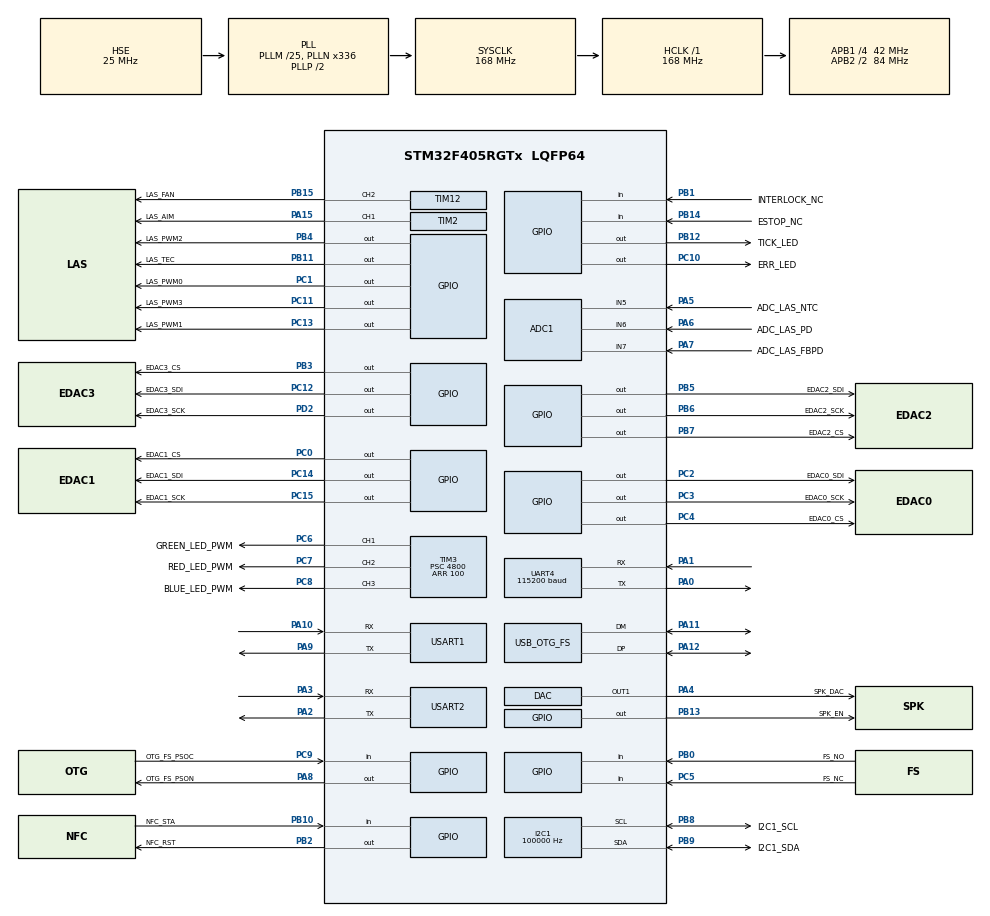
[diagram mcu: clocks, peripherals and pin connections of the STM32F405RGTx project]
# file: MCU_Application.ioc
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ADC1.Channel-0\#ChannelRegularConversion=ADC_CHANNEL_5
ADC1.Channel-1\#ChannelRegularConversion=ADC_CHANNEL_6
ADC1.Channel-2\#ChannelRegularConversion=ADC_CHANNEL_7
ADC1.Channel-5\#ChannelRegularConversion=ADC_CHANNEL_TEMPSENSOR
ADC1.Channel-6\#ChannelRegularConversion=ADC_CHANNEL_VREFINT
ADC1.Channel-7\#ChannelRegularConversion=ADC_CHANNEL_VBAT
ADC1.ContinuousConvMode=ENABLE
ADC1.DMAContinuousRequests=ENABLE
ADC1.EOCSelection=ADC_EOC_SEQ_CONV
ADC1.NbrOfConversion=6
ADC1.NbrOfConversionFlag=1
ADC1.Rank-0\#ChannelRegularConversion=1
ADC1.Rank-1\#ChannelRegularConversion=2
ADC1.Rank-2\#ChannelRegularConversion=3
ADC1.Rank-5\#ChannelRegularConversion=4
ADC1.Rank-6\#ChannelRegularConversion=5
ADC1.Rank-7\#ChannelRegularConversion=6
ADC1.SamplingTime-0\#ChannelRegularConversion=ADC_SAMPLETIME_144CYCLES
ADC1.SamplingTime-1\#ChannelRegularConversion=ADC_SAMPLETIME_144CYCLES
ADC1.SamplingTime-2\#ChannelRegularConversion=ADC_SAMPLETIME_144CYCLES
ADC1.SamplingTime-5\#ChannelRegularConversion=ADC_SAMPLETIME_144CYCLES
ADC1.SamplingTime-6\#ChannelRegularConversion=ADC_SAMPLETIME_144CYCLES
ADC1.SamplingTime-7\#ChannelRegularConversion=ADC_SAMPLETIME_144CYCLES
ADC1.ScanConvMode=ENABLE
ADC1.master=1
DAC.DAC_Trigger=DAC_TRIGGER_T7_TRGO
Dma.ADC1.1.Direction=DMA_PERIPH_TO_MEMORY
Dma.ADC1.1.FIFOMode=DMA_FIFOMODE_DISABLE
Dma.ADC1.1.Instance=DMA2_Stream0
Dma.ADC1.1.MemDataAlignment=DMA_MDATAALIGN_HALFWORD
Dma.ADC1.1.MemInc=DMA_MINC_ENABLE
Dma.ADC1.1.Mode=DMA_NORMAL
Dma.ADC1.1.PeriphDataAlignment=DMA_PDATAALIGN_HALFWORD
Dma.ADC1.1.PeriphInc=DMA_PINC_DISABLE
Dma.ADC1.1.Priority=DMA_PRIORITY_LOW
Dma.DAC1.0.Direction=DMA_MEMORY_TO_PERIPH
Dma.DAC1.0.FIFOMode=DMA_FIFOMODE_DISABLE
Dma.DAC1.0.Instance=DMA1_Stream5
Dma.DAC1.0.MemDataAlignment=DMA_MDATAALIGN_HALFWORD
Dma.DAC1.0.MemInc=DMA_MINC_ENABLE
Dma.DAC1.0.Mode=DMA_CIRCULAR
Dma.DAC1.0.PeriphDataAlignment=DMA_PDATAALIGN_HALFWORD
Dma.DAC1.0.PeriphInc=DMA_PINC_DISABLE
Dma.DAC1.0.Priority=DMA_PRIORITY_LOW
Dma.Request0=DAC1
Dma.Request1=ADC1
FATFS._CODE_PAGE=437
FATFS._FS_EXFAT=1
FATFS._FS_LOCK=255
FATFS._LFN_UNICODE=0
FATFS._STRF_ENCODE=0
FATFS._USE_CHMOD=1
FATFS._USE_EXPAND=1
FATFS._USE_FIND=1
FATFS._USE_FORWARD=1
FATFS._USE_LABEL=1
FATFS._USE_LFN=2
FATFS._USE_MUTEX=1
FATFS._USE_TRIM=1
FREERTOS.Tasks01=defaultTask,24,512,StartDefaultTask,Default,NULL,Dynamic,NULL,NULL
FREERTOS.configENABLE_FPU=1
FREERTOS.configMINIMAL_STACK_SIZE=512
FREERTOS.configTOTAL_HEAP_SIZE=49152
FREERTOS.configUSE_APPLICATION_TASK_TAG=1
I2C1.ClockSpeed=100000
I2C1.I2C_Mode=I2C_Standard
Mcu.Family=STM32F4
Mcu.Name=STM32F405RGTx
Mcu.Package=LQFP64
NVIC.ADC_IRQn=true\:5\:0\:false\:false\:true\:true\:true\:true\:true
NVIC.DMA1_Stream5_IRQn=true\:5\:0\:false\:false\:true\:true\:false\:true\:true
NVIC.DMA2_Stream0_IRQn=true\:5\:0\:false\:false\:true\:true\:false\:true\:true
NVIC.OTG_FS_IRQn=true\:5\:0\:false\:false\:true\:true\:true\:true\:true
NVIC.PriorityGroup=NVIC_PRIORITYGROUP_4
NVIC.RCC_IRQn=true\:5\:0\:false\:false\:true\:true\:true\:false\:true
NVIC.TIM1_UP_TIM10_IRQn=true\:5\:0\:false\:false\:true\:true\:true\:true\:true
NVIC.TIM6_DAC_IRQn=true\:5\:0\:false\:false\:true\:false\:false\:true\:true
NVIC.TIM8_TRG_COM_TIM14_IRQn=true\:5\:0\:false\:false\:true\:true\:true\:true\:true
NVIC.TIM8_UP_TIM13_IRQn=true\:15\:0\:false\:false\:true\:false\:false\:true\:true
NVIC.TimeBase=TIM8_UP_TIM13_IRQn
NVIC.TimeBaseIP=TIM13
NVIC.UART4_IRQn=true\:5\:0\:false\:false\:true\:true\:true\:true\:true
PA0-WKUP.GPIO_PuPd=GPIO_PULLDOWN
PA0-WKUP.GPIO_Speed=GPIO_SPEED_FREQ_LOW
PA0-WKUP.Mode=Asynchronous
PA0-WKUP.Signal=UART4_TX
PA1.GPIO_PuPd=GPIO_PULLDOWN
PA1.GPIO_Speed=GPIO_SPEED_FREQ_LOW
PA1.Mode=Asynchronous
PA1.Signal=UART4_RX
PA10.GPIO_PuPd=GPIO_NOPULL
PA10.GPIO_Speed=GPIO_SPEED_FREQ_LOW
PA10.Mode=Asynchronous
PA10.Signal=USART1_RX
PA11.Mode=Host_Only
PA11.Signal=USB_OTG_FS_DM
PA12.Mode=Host_Only
PA12.Signal=USB_OTG_FS_DP
PA13.Mode=Serial_Wire
PA13.Signal=SYS_JTMS-SWDIO
PA14.Mode=Serial_Wire
PA14.Signal=SYS_JTCK-SWCLK
PA15.GPIO_Label=LAS_AIM
PA15.GPIO_PuPd=GPIO_PULLDOWN
PA15.Signal=S_TIM2_CH1_ETR
PA2.GPIO_PuPd=GPIO_PULLDOWN
PA2.GPIO_Speed=GPIO_SPEED_FREQ_MEDIUM
PA2.Mode=Asynchronous
PA2.Signal=USART2_TX
PA3.GPIO_PuPd=GPIO_PULLDOWN
PA3.GPIO_Speed=GPIO_SPEED_FREQ_MEDIUM
PA3.Mode=Asynchronous
PA3.Signal=USART2_RX
PA4.GPIO_Label=SPK_DAC
PA4.Signal=COMP_DAC1_group
PA5.GPIO_Label=ADC_LAS_NTC
PA5.Signal=ADCx_IN5
PA6.GPIO_Label=ADC_LAS_PD
PA6.Signal=ADCx_IN6
PA7.GPIO_Label=ADC_LAS_FBPD
PA7.Signal=ADCx_IN7
PA8.GPIO_Label=OTG_FS_PSON
PA8.GPIO_PuPd=GPIO_PULLDOWN
PA8.Signal=GPIO_Output
PA9.GPIO_PuPd=GPIO_NOPULL
PA9.GPIO_Speed=GPIO_SPEED_FREQ_LOW
PA9.Mode=Asynchronous
PA9.Signal=USART1_TX
PB0.GPIO_Label=FS_NO
PB0.GPIO_PuPd=GPIO_PULLUP
PB0.Signal=GPIO_Input
PB1.GPIO_Label=INTERLOCK_NC
PB1.Signal=GPIO_Input
PB10.GPIO_Label=NFC_STA
PB10.GPIO_PuPd=GPIO_PULLUP
PB10.Signal=GPIO_Input
PB11.GPIO_Label=LAS_TEC
PB11.Signal=GPIO_Output
PB12.GPIO_Label=TICK_LED
PB12.GPIO_PuPd=GPIO_PULLUP
PB12.GPIO_Speed=GPIO_SPEED_FREQ_LOW
PB12.PinState=GPIO_PIN_SET
PB12.Signal=GPIO_Output
PB13.GPIO_Label=SPK_EN
PB13.GPIO_PuPd=GPIO_PULLDOWN
PB13.Signal=GPIO_Output
PB14.GPIO_Label=ESTOP_NC
PB14.GPIO_PuPd=GPIO_PULLUP
PB14.Signal=GPIO_Input
PB15.GPIO_Label=LAS_FAN
PB15.Signal=S_TIM12_CH2
PB2.GPIO_Label=NFC_RST
PB2.GPIO_PuPd=GPIO_PULLUP
PB2.Signal=GPIO_Output
PB3.GPIO_Label=EDAC3_CS
PB3.GPIO_PuPd=GPIO_PULLDOWN
PB3.Signal=GPIO_Output
PB4.GPIO_Label=LAS_PWM2
PB4.GPIO_PuPd=GPIO_PULLDOWN
PB4.Signal=GPIO_Output
PB5.GPIO_Label=EDAC2_SDI
PB5.GPIO_PuPd=GPIO_PULLDOWN
PB5.Signal=GPIO_Output
PB6.GPIO_Label=EDAC2_SCK
PB6.GPIO_PuPd=GPIO_PULLDOWN
PB6.Signal=GPIO_Output
PB7.GPIO_Label=EDAC2_CS
PB7.GPIO_PuPd=GPIO_PULLUP
PB7.GPIO_Speed=GPIO_SPEED_FREQ_LOW
PB7.Signal=GPIO_Output
PB8.GPIO_Label=I2C1_SCL
PB8.GPIO_Pu=GPIO_PULLUP
PB8.GPIO_Speed=GPIO_SPEED_FREQ_MEDIUM
PB8.Mode=I2C
PB8.Signal=I2C1_SCL
PB9.GPIO_Label=I2C1_SDA
PB9.GPIO_Pu=GPIO_PULLUP
PB9.GPIO_Speed=GPIO_SPEED_FREQ_MEDIUM
PB9.Mode=I2C
PB9.Signal=I2C1_SDA
PC0.GPIO_Label=EDAC1_CS
PC0.GPIO_PuPd=GPIO_PULLUP
PC0.GPIO_Speed=GPIO_SPEED_FREQ_LOW
PC0.Signal=GPIO_Output
PC1.GPIO_Label=LAS_PWM0
PC1.GPIO_PuPd=GPIO_PULLDOWN
PC1.Signal=GPIO_Output
PC10.GPIO_Label=ERR_LED
PC10.GPIO_PuPd=GPIO_PULLDOWN
PC10.Signal=GPIO_Output
PC11.GPIO_Label=LAS_PWM3
PC11.GPIO_PuPd=GPIO_PULLDOWN
PC11.Signal=GPIO_Output
PC12.GPIO_Label=EDAC3_SDI
PC12.GPIO_PuPd=GPIO_PULLDOWN
PC12.Signal=GPIO_Output
PC13-ANTI_TAMP.GPIO_Label=LAS_PWM1
PC13-ANTI_TAMP.GPIO_PuPd=GPIO_PULLDOWN
PC13-ANTI_TAMP.Signal=GPIO_Output
PC14-OSC32_IN.GPIO_Label=EDAC1_SDI
PC14-OSC32_IN.GPIO_PuPd=GPIO_PULLDOWN
PC14-OSC32_IN.Signal=GPIO_Output
PC15-OSC32_OUT.GPIO_Label=EDAC1_SCK
PC15-OSC32_OUT.GPIO_PuPd=GPIO_PULLDOWN
PC15-OSC32_OUT.GPIO_Speed=GPIO_SPEED_FREQ_LOW
PC15-OSC32_OUT.Signal=GPIO_Output
PC2.GPIO_Label=EDAC0_SDI
PC2.GPIO_PuPd=GPIO_PULLDOWN
PC2.GPIO_Speed=GPIO_SPEED_FREQ_LOW
PC2.Signal=GPIO_Output
PC3.GPIO_Label=EDAC0_SCK
PC3.GPIO_PuPd=GPIO_PULLDOWN
PC3.GPIO_Speed=GPIO_SPEED_FREQ_LOW
PC3.Signal=GPIO_Output
PC4.GPIO_Label=EDAC0_CS
PC4.Signal=GPIO_Output
PC5.GPIO_Label=FS_NC
PC5.GPIO_PuPd=GPIO_PULLUP
PC5.Signal=GPIO_Input
PC6.GPIO_Label=GREEN_LED_PWM
PC6.Signal=S_TIM3_CH1
PC7.GPIO_Label=RED_LED_PWM
PC7.Signal=S_TIM3_CH2
PC8.GPIO_Label=BLUE_LED_PWM
PC8.Signal=S_TIM3_CH3
PC9.GPIO_Label=OTG_FS_PSOC
PC9.GPIO_PuPd=GPIO_PULLUP
PC9.Signal=GPIO_Input
PD2.GPIO_Label=EDAC3_SCK
PD2.GPIO_PuPd=GPIO_PULLUP
PD2.Signal=GPIO_Output
PH0-OSC_IN.Mode=HSE-External-Oscillator
PH0-OSC_IN.Signal=RCC_OSC_IN
PH1-OSC_OUT.Mode=HSE-External-Oscillator
PH1-OSC_OUT.Signal=RCC_OSC_OUT
ProjectManager.HeapSize=0x2000
ProjectManager.StackSize=0x2000
ProjectManager.TargetToolchain=MDK-ARM V5.32
RCC.48MHZClocksFreq_Value=48000000
RCC.AHBFreq_Value=168000000
RCC.APB1CLKDivider=RCC_HCLK_DIV4
RCC.APB1Freq_Value=42000000
RCC.APB1TimFreq_Value=84000000
RCC.APB2CLKDivider=RCC_HCLK_DIV2
RCC.APB2Freq_Value=84000000
RCC.APB2TimFreq_Value=168000000
RCC.CortexFreq_Value=168000000
RCC.EnbaleCSS=true
RCC.HCLKFreq_Value=168000000
RCC.HSE_VALUE=25000000
RCC.HSI_VALUE=16000000
RCC.LSE_VALUE=32768
RCC.PLLM=25
RCC.PLLN=336
RCC.PLLQ=7
RCC.SYSCLKFreq_VALUE=168000000
RCC.SYSCLKSource=RCC_SYSCLKSOURCE_PLLCLK
RCC.VCOOutputFreq_Value=336000000
SH.ADCx_IN5.0=ADC1_IN5,IN5
SH.ADCx_IN6.0=ADC1_IN6,IN6
SH.ADCx_IN7.0=ADC1_IN7,IN7
SH.COMP_DAC1_group.0=DAC_OUT1,DAC_OUT1
SH.S_TIM12_CH2.0=TIM12_CH2,PWM Generation2 CH2
SH.S_TIM2_CH1_ETR.0=TIM2_CH1,PWM Generation1 CH1
SH.S_TIM3_CH1.0=TIM3_CH1,PWM Generation1 CH1
SH.S_TIM3_CH2.0=TIM3_CH2,PWM Generation2 CH2
SH.S_TIM3_CH3.0=TIM3_CH3,PWM Generation3 CH3
TIM10.AutoReloadPreload=TIM_AUTORELOAD_PRELOAD_ENABLE
TIM10.Period=1000
TIM10.Prescaler=168
TIM12.AutoReloadPreload=TIM_AUTORELOAD_PRELOAD_ENABLE
TIM12.Channel-PWM\ Generation2\ CH2=TIM_CHANNEL_2
TIM12.ClockDivision=TIM_CLOCKDIVISION_DIV2
TIM12.Period=100
TIM12.Prescaler=46
TIM14.AutoReloadPreload=TIM_AUTORELOAD_PRELOAD_ENABLE
TIM14.Period=1000
TIM14.Prescaler=84
TIM2.AutoReloadPreload=TIM_AUTORELOAD_PRELOAD_ENABLE
TIM2.Channel-PWM\ Generation1\ CH1=TIM_CHANNEL_1
TIM2.Period=5000
TIM2.Prescaler=96
TIM3.AutoReloadPreload=TIM_AUTORELOAD_PRELOAD_ENABLE
TIM3.Channel-PWM\ Generation1\ CH1=TIM_CHANNEL_1
TIM3.Channel-PWM\ Generation2\ CH2=TIM_CHANNEL_2
TIM3.Channel-PWM\ Generation3\ CH3=TIM_CHANNEL_3
TIM3.Period=100
TIM3.Prescaler=4800
TIM7.AutoReloadPreload=TIM_AUTORELOAD_PRELOAD_ENABLE
TIM7.Period=30
TIM7.Prescaler=10
TIM7.TIM_MasterOutputTrigger=TIM_TRGO_UPDATE
UART4.BaudRate=115200
UART4.VirtualMode=Asynchronous
USART1.VirtualMode=VM_ASYNC
USART2.VirtualMode=VM_ASYNC
USB_HOST.BSP.number=1
USB_HOST.USBH_DEBUG_LEVEL-ALL_Classes_FS=3
USB_HOST.USBH_HandleTypeDef-ALL_Classes_FS=hUsbHostFS
USB_HOST.USBH_MAX_DATA_BUFFER-ALL_Classes_FS=1024
USB_HOST.VirtualModeFS=All_Classes
USB_HOST0.BSP.STBoard=false
USB_HOST0.BSP.api=Unknown
USB_HOST0.BSP.instance=PA8
USB_HOST0.BSP.ip=GPIO
USB_HOST0.BSP.mode=Output
USB_HOST0.BSP.name=Drive_VBUS_FS
USB_HOST0.BSP.solution=PA8
USB_OTG_FS.VirtualMode=Host_Only
USB_OTG_FS.phy_itface=HCD_PHY_EMBEDDED
VP_ADC1_TempSens_Input.Mode=IN-TempSens
VP_ADC1_Vbat_Input.Mode=IN-Vbat
VP_ADC1_Vref_Input.Mode=IN-Vrefint
VP_CRC_VS_CRC.Mode=CRC_Activate
VP_FATFS_VS_USB.Mode=USB
VP_FREERTOS_VS_CMSIS_V2.Mode=CMSIS_V2
VP_RNG_VS_RNG.Mode=RNG_Activate
VP_SYS_VS_tim13.Mode=TIM13
VP_TIM10_VS_ClockSourceINT.Mode=Enable_Timer
VP_TIM12_VS_ClockSourceINT.Mode=Internal
VP_TIM14_VS_ClockSourceINT.Mode=Enable_Timer
VP_TIM2_VS_ClockSourceINT.Mode=Internal
VP_TIM3_VS_ClockSourceINT.Mode=Internal
VP_TIM7_VS_ClockSourceINT.Mode=Enable_Timer
VP_USB_HOST_VS_USB_HOST_ALL_CLASS_FS.Mode=ALL_Classes_FS
board=custom

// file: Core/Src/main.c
/* USER CODE BEGIN Header */
/**
  ******************************************************************************
  * @file           : main.c
  * @brief          : Main program body
  ******************************************************************************
  * @attention
  *
  * Copyright (c) 2022 STMicroelectronics.
  * All rights reserved.
  *
  * This software is licensed under terms that can be found in the LICENSE file
  * in the root directory of this software component.
  * If no LICENSE file comes with this software, it is provided AS-IS.
  *
  ******************************************************************************
  */
/* USER CODE END Header */
#include "main.h"
#include "cmsis_os.h"
#include "adc.h"
#include "crc.h"
#include "dac.h"
#include "dma.h"
#include "fatfs.h"
#include "i2c.h"
#include "rng.h"
#include "tim.h"
#include "usart.h"
#include "usb_host.h"
#include "gpio.h"

/* USER CODE BEGIN Includes */
#include "sPlc.h"
/* USER CODE END Includes */

void SystemClock_Config(void);
void MX_FREERTOS_Init(void);

int main(void)
{

  /* USER CODE BEGIN 1 */
	resetInit();//
  /* USER CODE END 1 */

  /* MCU Configuration--------------------------------------------------------*/

  /* Reset of all peripherals, Initializes the Flash interface and the Systick. */
  HAL_Init();

  /* Configure the system clock */
  SystemClock_Config();

  /* Initialize all configured peripherals */
  MX_GPIO_Init();
  MX_DMA_Init();
  MX_ADC1_Init();
  MX_DAC_Init();
  MX_I2C1_Init();
  MX_TIM2_Init();
  MX_UART4_Init();
  MX_USART1_UART_Init();
  MX_USART2_UART_Init();
  MX_CRC_Init();
  MX_RNG_Init();
  MX_TIM7_Init();
  MX_TIM10_Init();
  MX_TIM14_Init();
  MX_TIM12_Init();
  MX_TIM3_Init();
  MX_FATFS_Init();

  /* Init scheduler */
  osKernelInitialize();

  /* Call init function for freertos objects (in cmsis_os2.c) */
  MX_FREERTOS_Init();

  /* Start scheduler */
  osKernelStart();

  /* We should never get here as control is now taken by the scheduler */

  /* Infinite loop */
  while (1)
  {

  }
}

void SystemClock_Config(void)
{
  RCC_OscInitTypeDef RCC_OscInitStruct = {0};
  RCC_ClkInitTypeDef RCC_ClkInitStruct = {0};

  /** Configure the main internal regulator output voltage
  */
  __HAL_RCC_PWR_CLK_ENABLE();
  __HAL_PWR_VOLTAGESCALING_CONFIG(PWR_REGULATOR_VOLTAGE_SCALE1);

  /** Initializes the RCC Oscillators according to the specified parameters
  * in the RCC_OscInitTypeDef structure.
  */
  RCC_OscInitStruct.OscillatorType = RCC_OSCILLATORTYPE_HSE;
  RCC_OscInitStruct.HSEState = RCC_HSE_ON;
  RCC_OscInitStruct.PLL.PLLState = RCC_PLL_ON;
  RCC_OscInitStruct.PLL.PLLSource = RCC_PLLSOURCE_HSE;
  RCC_OscInitStruct.PLL.PLLM = 25;
  RCC_OscInitStruct.PLL.PLLN = 336;
  RCC_OscInitStruct.PLL.PLLP = RCC_PLLP_DIV2;
  RCC_OscInitStruct.PLL.PLLQ = 7;
  if (HAL_RCC_OscConfig(&RCC_OscInitStruct) != HAL_OK)
  {
    Error_Handler();
  }

  /** Initializes the CPU, AHB and APB buses clocks
  */
  RCC_ClkInitStruct.ClockType = RCC_CLOCKTYPE_HCLK|RCC_CLOCKTYPE_SYSCLK
                              |RCC_CLOCKTYPE_PCLK1|RCC_CLOCKTYPE_PCLK2;
  RCC_ClkInitStruct.SYSCLKSource = RCC_SYSCLKSOURCE_PLLCLK;
  RCC_ClkInitStruct.AHBCLKDivider = RCC_SYSCLK_DIV1;
  RCC_ClkInitStruct.APB1CLKDivider = RCC_HCLK_DIV4;
  RCC_ClkInitStruct.APB2CLKDivider = RCC_HCLK_DIV2;

  if (HAL_RCC_ClockConfig(&RCC_ClkInitStruct, FLASH_LATENCY_5) != HAL_OK)
  {
    Error_Handler();
  }

  /** Enables the Clock Security System
  */
  HAL_RCC_EnableCSS();
}

/* USER CODE BEGIN 4 */
extern void sPlcTimerIsr(void);
extern void sPlcLaserTimerIsr(void);
/* USER CODE END 4 */

void HAL_TIM_PeriodElapsedCallback(TIM_HandleTypeDef *htim)
{
  if (htim->Instance == TIM13) {
    HAL_IncTick();
  }
  /* USER CODE BEGIN Callback 1 */
	if(htim->Instance == TIM14) {
		sPlcTimerIsr();
	}
	if(htim->Instance == TIM10){
		sPlcLaserTimerIsr();
	}
  /* USER CODE END Callback 1 */
}

void Error_Handler(void)
{
  __disable_irq();
  while (1)
  {
  }
}

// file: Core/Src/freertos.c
/* USER CODE BEGIN Header */
/**
  ******************************************************************************
  * File Name          : freertos.c
  * Description        : Code for freertos applications
  ******************************************************************************
  * @attention
  *
  * Copyright (c) 2022 STMicroelectronics.
  * All rights reserved.
  *
  * This software is licensed under terms that can be found in the LICENSE file
  * in the root directory of this software component.
  * If no LICENSE file comes with this software, it is provided AS-IS.
  *
  ******************************************************************************
  */
/* USER CODE END Header */

#include "FreeRTOS.h"
#include "task.h"
#include "main.h"
#include "cmsis_os.h"

/* USER CODE BEGIN Includes */
#include "mainApp.h"
/* USER CODE END Includes */

/* Definitions for defaultTask */
osThreadId_t defaultTaskHandle;
const osThreadAttr_t defaultTask_attributes = {
  .name = "defaultTask",
  .stack_size = 512 * 4,
  .priority = (osPriority_t) osPriorityNormal,
};

/* USER CODE BEGIN FunctionPrototypes */
osThreadId_t mainAppTaskHandle;
const osThreadAttr_t mainAppTask_attributes = {
  .name = "mainAppTask",
  .priority = (osPriority_t) osPriorityNormal,
  .stack_size = 800 * 16
};
/* USER CODE END FunctionPrototypes */

void StartDefaultTask(void *argument);

extern void MX_USB_HOST_Init(void);
void MX_FREERTOS_Init(void); /* (MISRA C 2004 rule 8.1) */

void MX_FREERTOS_Init(void) {

  /* Create the thread(s) */
  /* creation of defaultTask */
  defaultTaskHandle = osThreadNew(StartDefaultTask, NULL, &defaultTask_attributes);

  /* USER CODE BEGIN RTOS_THREADS */
	mainAppTaskHandle = osThreadNew(mainAppTask, NULL, &mainAppTask_attributes);
  /* add threads, ... */
  /* USER CODE END RTOS_THREADS */

}

void StartDefaultTask(void *argument)
{
  /* init code for USB_HOST */
  MX_USB_HOST_Init();
  for(;;)
  {
    osDelay(1);
  }
}
